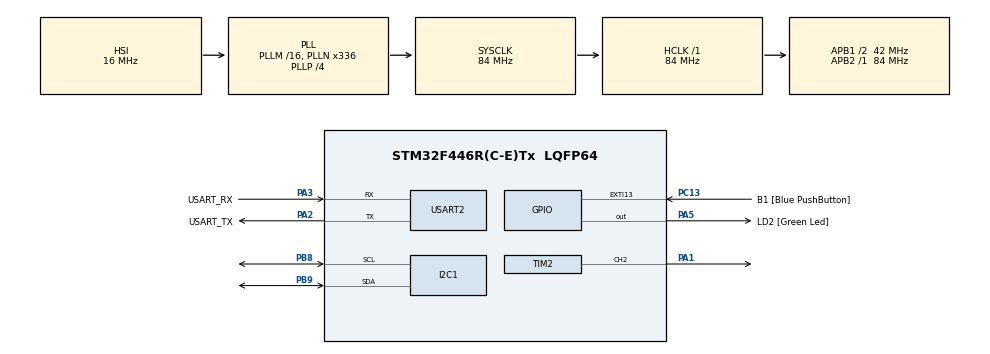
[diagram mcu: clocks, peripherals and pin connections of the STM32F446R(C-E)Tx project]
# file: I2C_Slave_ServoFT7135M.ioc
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Dma.I2C1_RX.0.Direction=DMA_PERIPH_TO_MEMORY
Dma.I2C1_RX.0.FIFOMode=DMA_FIFOMODE_DISABLE
Dma.I2C1_RX.0.Instance=DMA1_Stream0
Dma.I2C1_RX.0.MemDataAlignment=DMA_MDATAALIGN_BYTE
Dma.I2C1_RX.0.MemInc=DMA_MINC_ENABLE
Dma.I2C1_RX.0.Mode=DMA_NORMAL
Dma.I2C1_RX.0.PeriphDataAlignment=DMA_PDATAALIGN_BYTE
Dma.I2C1_RX.0.PeriphInc=DMA_PINC_DISABLE
Dma.I2C1_RX.0.Priority=DMA_PRIORITY_LOW
Dma.Request0=I2C1_RX
I2C1.OwnAddress=0x08
Mcu.Family=STM32F4
Mcu.Name=STM32F446R(C-E)Tx
Mcu.Package=LQFP64
NVIC.DMA1_Stream0_IRQn=true\:0\:0\:false\:false\:true\:false\:true\:true
NVIC.I2C1_ER_IRQn=true\:0\:0\:false\:false\:true\:true\:true\:true
NVIC.I2C1_EV_IRQn=true\:0\:0\:false\:false\:true\:true\:true\:true
NVIC.PriorityGroup=NVIC_PRIORITYGROUP_0
PA1.Signal=S_TIM2_CH2
PA13.GPIO_Label=TMS
PA13.Mode=Serial_Wire
PA13.Signal=SYS_JTMS-SWDIO
PA14.GPIO_Label=TCK
PA14.Mode=Serial_Wire
PA14.Signal=SYS_JTCK-SWCLK
PA2.GPIO_Label=USART_TX
PA2.Mode=Asynchronous
PA2.Signal=USART2_TX
PA3.GPIO_Label=USART_RX
PA3.Mode=Asynchronous
PA3.Signal=USART2_RX
PA5.GPIO_Label=LD2 [Green Led]
PA5.Signal=GPIO_Output
PB3.GPIO_Label=SWO
PB3.Signal=SYS_JTDO-SWO
PB8.Mode=I2C
PB8.Signal=I2C1_SCL
PB9.Mode=I2C
PB9.Signal=I2C1_SDA
PC13.GPIO_Label=B1 [Blue PushButton]
PC13.GPIO_ModeDefaultEXTI=GPIO_MODE_IT_FALLING
PC13.Signal=GPXTI13
PC14-OSC32_IN.Mode=LSE-External-Oscillator
PC14-OSC32_IN.Signal=RCC_OSC32_IN
PC15-OSC32_OUT.Mode=LSE-External-Oscillator
PC15-OSC32_OUT.Signal=RCC_OSC32_OUT
PH0-OSC_IN.Mode=HSE-External-Oscillator
PH0-OSC_IN.Signal=RCC_OSC_IN
PH1-OSC_OUT.Mode=HSE-External-Oscillator
PH1-OSC_OUT.Signal=RCC_OSC_OUT
ProjectManager.HeapSize=0x200
ProjectManager.StackSize=0x400
ProjectManager.TargetToolchain=STM32CubeIDE
RCC.48MHZClocksFreq_Value=84000000
RCC.AHBFreq_Value=84000000
RCC.APB1CLKDivider=RCC_HCLK_DIV2
RCC.APB1Freq_Value=42000000
RCC.APB1TimFreq_Value=84000000
RCC.APB2Freq_Value=84000000
RCC.APB2TimFreq_Value=84000000
RCC.CortexFreq_Value=84000000
RCC.FLatency-AdvancedSettings=FLASH_LATENCY_2
RCC.HCLKFreq_Value=84000000
RCC.HSE_VALUE=8000000
RCC.HSI_VALUE=16000000
RCC.PLLN=336
RCC.PLLP=RCC_PLLP_DIV4
RCC.SYSCLKFreq_VALUE=84000000
RCC.SYSCLKSource=RCC_SYSCLKSOURCE_PLLCLK
RCC.USBFreq_Value=168000000
RCC.VCOOutputFreq_Value=336000000
SH.S_TIM2_CH2.0=TIM2_CH2,PWM Generation2 CH2
TIM2.Channel-PWM\ Generation2\ CH2=TIM_CHANNEL_2
TIM2.Period=19999
TIM2.Prescaler=72
TIM2.Pulse-PWM\ Generation2\ CH2=1500
USART2.VirtualMode=VM_ASYNC
board=NUCLEO-F446RE

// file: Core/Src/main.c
/* USER CODE BEGIN Header */
/**
  ******************************************************************************
  * @file           : main.c
  * @brief          : Main program body
  ******************************************************************************
  * @attention
  *
  * Copyright (c) 2025 STMicroelectronics.
  * All rights reserved.
  *
  * This software is licensed under terms that can be found in the LICENSE file
  * in the root directory of this software component.
  * If no LICENSE file comes with this software, it is provided AS-IS.
  *
  ******************************************************************************
  */
/* USER CODE END Header */
#include "main.h"

/* USER CODE BEGIN Includes */
#include <string.h>
#include <stdio.h>
/* USER CODE END Includes */

I2C_HandleTypeDef hi2c1;
DMA_HandleTypeDef hdma_i2c1_rx;

TIM_HandleTypeDef htim2;

UART_HandleTypeDef huart2;

/* USER CODE BEGIN PV */
int8_t received_angle;		// Variable to hold the angle received over I2C
/* USER CODE END PV */

void SystemClock_Config(void);
static void MX_GPIO_Init(void);
static void MX_DMA_Init(void);
static void MX_USART2_UART_Init(void);
static void MX_I2C1_Init(void);
static void MX_TIM2_Init(void);
/* USER CODE BEGIN PFP */
void Servo_Angle(int8_t angle);
void Servo_Set_Angle(int8_t angle);
// Callback to handle I2C data reception
void HAL_I2C_SlaveRxCpltCallback(I2C_HandleTypeDef *hi2c);
/* USER CODE END PFP */

int main(void)
{

  /* MCU Configuration--------------------------------------------------------*/

  /* Reset of all peripherals, Initializes the Flash interface and the Systick. */
  HAL_Init();

  /* Configure the system clock */
  SystemClock_Config();

  /* Initialize all configured peripherals */
  MX_GPIO_Init();
  MX_DMA_Init();
  MX_USART2_UART_Init();
  MX_I2C1_Init();
  MX_TIM2_Init();
  /* USER CODE BEGIN 2 */
  // Start PWM signal on Timer 2 Channel 2
  HAL_TIM_PWM_Start(&htim2, TIM_CHANNEL_2);

  // Start I2C reception in interrupt mode
  HAL_I2C_Slave_Receive_IT(&hi2c1, (uint8_t*)&received_angle, 1);

    // Notify over UART that system is ready
  HAL_UART_Transmit(&huart2, (uint8_t *)"Waiting for angle...\r\n", 23, 100);

  //Servo_Angle(0);

  /* USER CODE END 2 */

  /* Infinite loop */
  while (1)
  {

  }
}

void SystemClock_Config(void)
{
  RCC_OscInitTypeDef RCC_OscInitStruct = {0};
  RCC_ClkInitTypeDef RCC_ClkInitStruct = {0};

  /** Configure the main internal regulator output voltage
  */
  __HAL_RCC_PWR_CLK_ENABLE();
  __HAL_PWR_VOLTAGESCALING_CONFIG(PWR_REGULATOR_VOLTAGE_SCALE3);

  /** Initializes the RCC Oscillators according to the specified parameters
  * in the RCC_OscInitTypeDef structure.
  */
  RCC_OscInitStruct.OscillatorType = RCC_OSCILLATORTYPE_HSI;
  RCC_OscInitStruct.HSIState = RCC_HSI_ON;
  RCC_OscInitStruct.HSICalibrationValue = RCC_HSICALIBRATION_DEFAULT;
  RCC_OscInitStruct.PLL.PLLState = RCC_PLL_ON;
  RCC_OscInitStruct.PLL.PLLSource = RCC_PLLSOURCE_HSI;
  RCC_OscInitStruct.PLL.PLLM = 16;
  RCC_OscInitStruct.PLL.PLLN = 336;
  RCC_OscInitStruct.PLL.PLLP = RCC_PLLP_DIV4;
  RCC_OscInitStruct.PLL.PLLQ = 2;
  RCC_OscInitStruct.PLL.PLLR = 2;
  if (HAL_RCC_OscConfig(&RCC_OscInitStruct) != HAL_OK)
  {
    Error_Handler();
  }

  /** Initializes the CPU, AHB and APB buses clocks
  */
  RCC_ClkInitStruct.ClockType = RCC_CLOCKTYPE_HCLK|RCC_CLOCKTYPE_SYSCLK
                              |RCC_CLOCKTYPE_PCLK1|RCC_CLOCKTYPE_PCLK2;
  RCC_ClkInitStruct.SYSCLKSource = RCC_SYSCLKSOURCE_PLLCLK;
  RCC_ClkInitStruct.AHBCLKDivider = RCC_SYSCLK_DIV1;
  RCC_ClkInitStruct.APB1CLKDivider = RCC_HCLK_DIV2;
  RCC_ClkInitStruct.APB2CLKDivider = RCC_HCLK_DIV1;

  if (HAL_RCC_ClockConfig(&RCC_ClkInitStruct, FLASH_LATENCY_2) != HAL_OK)
  {
    Error_Handler();
  }
}

static void MX_I2C1_Init(void)
{

  hi2c1.Instance = I2C1;
  hi2c1.Init.ClockSpeed = 100000;
  hi2c1.Init.DutyCycle = I2C_DUTYCYCLE_2;
  hi2c1.Init.OwnAddress1 = 16;
  hi2c1.Init.AddressingMode = I2C_ADDRESSINGMODE_7BIT;
  hi2c1.Init.DualAddressMode = I2C_DUALADDRESS_DISABLE;
  hi2c1.Init.OwnAddress2 = 0;
  hi2c1.Init.GeneralCallMode = I2C_GENERALCALL_DISABLE;
  hi2c1.Init.NoStretchMode = I2C_NOSTRETCH_DISABLE;
  if (HAL_I2C_Init(&hi2c1) != HAL_OK)
  {
    Error_Handler();
  }

}

static void MX_TIM2_Init(void)
{

  TIM_MasterConfigTypeDef sMasterConfig = {0};
  TIM_OC_InitTypeDef sConfigOC = {0};

  htim2.Instance = TIM2;
  htim2.Init.Prescaler = 72;
  htim2.Init.CounterMode = TIM_COUNTERMODE_UP;
  htim2.Init.Period = 19999;
  htim2.Init.ClockDivision = TIM_CLOCKDIVISION_DIV1;
  htim2.Init.AutoReloadPreload = TIM_AUTORELOAD_PRELOAD_DISABLE;
  if (HAL_TIM_PWM_Init(&htim2) != HAL_OK)
  {
    Error_Handler();
  }
  sMasterConfig.MasterOutputTrigger = TIM_TRGO_RESET;
  sMasterConfig.MasterSlaveMode = TIM_MASTERSLAVEMODE_DISABLE;
  if (HAL_TIMEx_MasterConfigSynchronization(&htim2, &sMasterConfig) != HAL_OK)
  {
    Error_Handler();
  }
  sConfigOC.OCMode = TIM_OCMODE_PWM1;
  sConfigOC.Pulse = 1500;
  sConfigOC.OCPolarity = TIM_OCPOLARITY_HIGH;
  sConfigOC.OCFastMode = TIM_OCFAST_DISABLE;
  if (HAL_TIM_PWM_ConfigChannel(&htim2, &sConfigOC, TIM_CHANNEL_2) != HAL_OK)
  {
    Error_Handler();
  }
  HAL_TIM_MspPostInit(&htim2);

}

static void MX_USART2_UART_Init(void)
{

  huart2.Instance = USART2;
  huart2.Init.BaudRate = 115200;
  huart2.Init.WordLength = UART_WORDLENGTH_8B;
  huart2.Init.StopBits = UART_STOPBITS_1;
  huart2.Init.Parity = UART_PARITY_NONE;
  huart2.Init.Mode = UART_MODE_TX_RX;
  huart2.Init.HwFlowCtl = UART_HWCONTROL_NONE;
  huart2.Init.OverSampling = UART_OVERSAMPLING_16;
  if (HAL_UART_Init(&huart2) != HAL_OK)
  {
    Error_Handler();
  }

}

static void MX_DMA_Init(void)
{

  /* DMA controller clock enable */
  __HAL_RCC_DMA1_CLK_ENABLE();

  /* DMA interrupt init */
  /* DMA1_Stream0_IRQn interrupt configuration */
  HAL_NVIC_SetPriority(DMA1_Stream0_IRQn, 0, 0);
  HAL_NVIC_EnableIRQ(DMA1_Stream0_IRQn);

}

static void MX_GPIO_Init(void)
{
  GPIO_InitTypeDef GPIO_InitStruct = {0};

  /* GPIO Ports Clock Enable */
  __HAL_RCC_GPIOC_CLK_ENABLE();
  __HAL_RCC_GPIOH_CLK_ENABLE();
  __HAL_RCC_GPIOA_CLK_ENABLE();
  __HAL_RCC_GPIOB_CLK_ENABLE();

  /*Configure GPIO pin Output Level */
  HAL_GPIO_WritePin(LD2_GPIO_Port, LD2_Pin, GPIO_PIN_RESET);

  /*Configure GPIO pin : B1_Pin */
  GPIO_InitStruct.Pin = B1_Pin;
  GPIO_InitStruct.Mode = GPIO_MODE_IT_FALLING;
  GPIO_InitStruct.Pull = GPIO_NOPULL;
  HAL_GPIO_Init(B1_GPIO_Port, &GPIO_InitStruct);

  /*Configure GPIO pin : LD2_Pin */
  GPIO_InitStruct.Pin = LD2_Pin;
  GPIO_InitStruct.Mode = GPIO_MODE_OUTPUT_PP;
  GPIO_InitStruct.Pull = GPIO_NOPULL;
  GPIO_InitStruct.Speed = GPIO_SPEED_FREQ_LOW;
  HAL_GPIO_Init(LD2_GPIO_Port, &GPIO_InitStruct);

}

/* USER CODE BEGIN 4 */
void HAL_I2C_SlaveRxCpltCallback(I2C_HandleTypeDef *hi2c)
{

	Servo_Angle(received_angle);
	HAL_GPIO_TogglePin(GPIOA, GPIO_PIN_5);
	// Send feedback via UART
	char msg[50];
	sprintf(msg, "Servo angle: %d\r\n", received_angle);
	HAL_UART_Transmit(&huart2, (uint8_t *)msg, strlen(msg), 100);

	// Re-enable I2C reception for next angle
	HAL_I2C_Slave_Receive_IT(&hi2c1, (uint8_t*)&received_angle, 1);
}

void Servo_Set_Angle(int8_t angle)
{
    uint16_t pulse = 1000 + ((uint32_t)angle * 1000) / 180; //1000
    __HAL_TIM_SET_COMPARE(&htim2, TIM_CHANNEL_2, pulse);
}

void Servo_Angle(int8_t angle)
{
	if((angle >= -90) && (angle <= 90))
	{
		Servo_Set_Angle((angle+90));
	}
	else {}

}
/* USER CODE END 4 */

void Error_Handler(void)
{
  __disable_irq();
  while (1)
  {
  }
}
